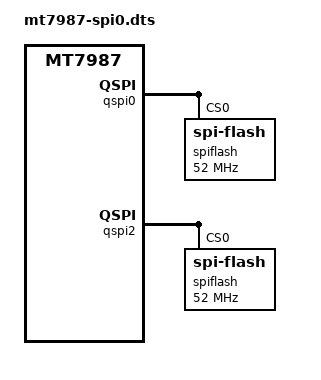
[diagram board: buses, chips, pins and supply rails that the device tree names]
/* SPDX-License-Identifier: BSD-3-Clause */
/*
 * Copyright (c) 2024, MediaTek Inc. All rights reserved.
 */
/dts-v1/;

/ {
	soc {
		#address-cells = <1>;
		#size-cells = <1>;

		qspi0: spi@11007800 {
			compatible = "mediatek,ipm-spi";
			#address-cells = <1>;
			#size-cells = <0>;
			reg = <0x11007800 0x1000>;
			status = "okay";

			spiflash@0 {
				compatible = "spi-flash";
				reg = <0>;
				spi-tx-bus-width = <4>;
				spi-rx-bus-width = <4>;
				spi-cpol = <1>;
				spi-cpha = <1>;
				tick-dly = <2>;
				spi-max-frequency = <52000000>;
				sample-sel = <0>;
				inter-loopback = <0>;
				#address-cells = <1>;
				#size-cells = <1>;
			};
		};

		qspi2: spi@11009800 {
			compatible = "mediatek,ipm-spi";
			#address-cells = <1>;
			#size-cells = <0>;
			reg = <0x11009800 0x1000>;
			status = "okay";

			spiflash@0 {
				compatible = "spi-flash";
				reg = <0>;
				spi-tx-bus-width = <4>;
				spi-rx-bus-width = <4>;
				spi-cpol = <1>;
				spi-cpha = <1>;
				tick-dly = <2>;
				spi-max-frequency = <52000000>;
				#address-cells = <1>;
				#size-cells = <1>;
			};
		};
	};
};
